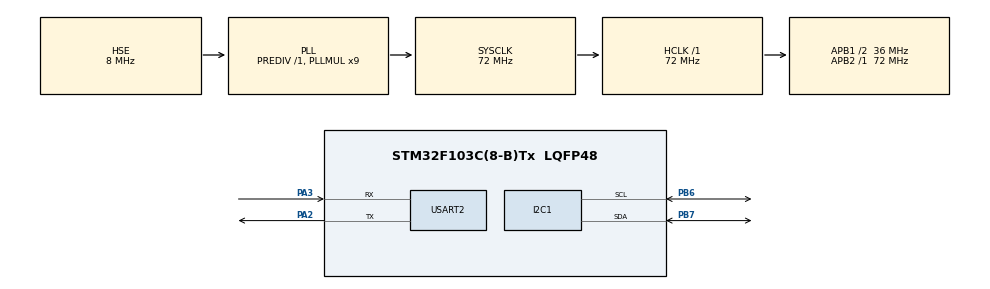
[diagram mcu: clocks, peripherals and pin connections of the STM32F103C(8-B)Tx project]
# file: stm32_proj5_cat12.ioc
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Mcu.Family=STM32F1
Mcu.Name=STM32F103C(8-B)Tx
Mcu.Package=LQFP48
NVIC.PriorityGroup=NVIC_PRIORITYGROUP_4
PA13.Mode=Serial_Wire
PA13.Signal=SYS_JTMS-SWDIO
PA14.Mode=Serial_Wire
PA14.Signal=SYS_JTCK-SWCLK
PA2.Mode=Asynchronous
PA2.Signal=USART2_TX
PA3.Mode=Asynchronous
PA3.Signal=USART2_RX
PB6.Mode=I2C
PB6.Signal=I2C1_SCL
PB7.Mode=I2C
PB7.Signal=I2C1_SDA
PD0-OSC_IN.Mode=HSE-External-Oscillator
PD0-OSC_IN.Signal=RCC_OSC_IN
PD1-OSC_OUT.Mode=HSE-External-Oscillator
PD1-OSC_OUT.Signal=RCC_OSC_OUT
ProjectManager.HeapSize=0x200
ProjectManager.StackSize=0x400
ProjectManager.TargetToolchain=MDK-ARM V5.32
RCC.AHBFreq_Value=72000000
RCC.APB1CLKDivider=RCC_HCLK_DIV2
RCC.APB1Freq_Value=36000000
RCC.APB1TimFreq_Value=72000000
RCC.APB2Freq_Value=72000000
RCC.APB2TimFreq_Value=72000000
RCC.HCLKFreq_Value=72000000
RCC.PLLMUL=RCC_PLL_MUL9
RCC.PLLSourceVirtual=RCC_PLLSOURCE_HSE
RCC.SYSCLKFreq_VALUE=72000000
RCC.SYSCLKSource=RCC_SYSCLKSOURCE_PLLCLK
RCC.USBFreq_Value=72000000
USART2.VirtualMode=VM_ASYNC
board=custom

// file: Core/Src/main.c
/* USER CODE BEGIN Header */
/**
  ******************************************************************************
  * @file           : main.c
  * @brief          : Main program body
  ******************************************************************************
  * @attention
  *
  * Copyright (c) 2026 STMicroelectronics.
  * All rights reserved.
  *
  * This software is licensed under terms that can be found in the LICENSE file
  * in the root directory of this software component.
  * If no LICENSE file comes with this software, it is provided AS-IS.
  *
  ******************************************************************************
  */
/* USER CODE END Header */

#include "main.h"

/* USER CODE BEGIN Includes */
#include "bme280.h"
#include <stdio.h>
#include <string.h>
#include <stdlib.h>
/* USER CODE END Includes */

/* USER CODE BEGIN PD */

#define ESP_RX_BUFFER_SIZE 1200
#define ESP_REQUEST_BUFFER_SIZE 1024
#define ESP_RESPONSE_BUFFER_SIZE 512

#define WIFI_SSID "SNUC"
#define WIFI_PASSWORD "YOUR_WIFI_PASSWORD"

/* USER CODE END PD */

I2C_HandleTypeDef hi2c1;

UART_HandleTypeDef huart2;

/* USER CODE BEGIN PV */

extern I2C_HandleTypeDef hi2c1;

struct bme280_dev dev;
struct bme280_data comp_data;
struct bme280_settings settings;

int8_t rslt = BME280_OK;

float temperature, pressure, humidity;

uint8_t sensor_data_valid = 0;
uint8_t esp_ready = 0;

char esp_ip[16] = "0.0.0.0";

char esp_response[ESP_RESPONSE_BUFFER_SIZE];

char esp_rx_buffer[ESP_RX_BUFFER_SIZE];
uint16_t esp_rx_length = 0;

/* USER CODE END PV */

void SystemClock_Config(void);
static void MX_GPIO_Init(void);
static void MX_I2C1_Init(void);
static void MX_USART2_UART_Init(void);

/* USER CODE BEGIN PFP */

int8_t user_i2c_read(uint8_t reg_addr, uint8_t *reg_data,
                     uint32_t len, void *intf_ptr);

int8_t user_i2c_write(uint8_t reg_addr, const uint8_t *reg_data,
                      uint32_t len, void *intf_ptr);

void user_delay_us(uint32_t period, void *intf_ptr);

static uint8_t ESP_WaitForResponse(const char *expected,
                                   uint32_t timeout);

static uint8_t ESP_SendCommand(const char *command,
                               const char *expected,
                               uint32_t timeout);

static uint8_t ESP_Init(void);

static void ESP_ProcessIncoming(void);

static void ESP_HandleHttpRequest(int link_id,
                                  const char *request);

static void ESP_SendHTTPResponse(int link_id,
                                 const char *json,
                                 int status_code,
                                 const char *status_text);

static void BME280_ReadSensor(void);

/* USER CODE END PFP */

/* USER CODE BEGIN 0 */

/* BME280 I2C Read Function */

int8_t user_i2c_read(uint8_t reg_addr, uint8_t *reg_data,
                     uint32_t len, void *intf_ptr)
{
    uint8_t dev_addr = *(uint8_t*)intf_ptr;

    if (HAL_I2C_Mem_Read(&hi2c1, (dev_addr << 1),
                         reg_addr, I2C_MEMADD_SIZE_8BIT,
                         reg_data, len, HAL_MAX_DELAY) == HAL_OK)
    {
        return BME280_OK;
    }

    return BME280_E_COMM_FAIL;
}

/* BME280 I2C Write Function */

int8_t user_i2c_write(uint8_t reg_addr, const uint8_t *reg_data,
                      uint32_t len, void *intf_ptr)
{
    uint8_t dev_addr = *(uint8_t*)intf_ptr;

    if (HAL_I2C_Mem_Write(&hi2c1, (dev_addr << 1),
                          reg_addr, I2C_MEMADD_SIZE_8BIT,
                          (uint8_t*)reg_data, len,
                          HAL_MAX_DELAY) == HAL_OK)
    {
        return BME280_OK;
    }

    return BME280_E_COMM_FAIL;
}

/* BME280 Delay Function */

void user_delay_us(uint32_t period, void *intf_ptr)
{
    HAL_Delay((period / 1000) + 1);
}

/* ESP8266 UART Response Handler */

static uint8_t ESP_WaitForResponse(const char *expected,
                                   uint32_t timeout)
{
    uint8_t ch;
    uint16_t i = 0;

    memset(esp_response, 0, sizeof(esp_response));

    uint32_t start = HAL_GetTick();

    while ((HAL_GetTick() - start) < timeout)
    {
        if (HAL_UART_Receive(&huart2, &ch, 1, 10) == HAL_OK)
        {
            if (i < sizeof(esp_response) - 1)
            {
                esp_response[i++] = ch;
                esp_response[i] = '\0';
            }

            if (strstr(esp_response, "ERROR") != NULL ||
                strstr(esp_response, "FAIL") != NULL)
            {
                return 0;
            }

            if (strstr(esp_response, expected) != NULL)
            {
                return 1;
            }
        }
    }

    return 0;
}

/* ESP8266 AT Command Handler */

static uint8_t ESP_SendCommand(const char *command,
                               const char *expected,
                               uint32_t timeout)
{
    HAL_UART_Transmit(&huart2,
                      (uint8_t *)command,
                      strlen(command),
                      HAL_MAX_DELAY);

    return ESP_WaitForResponse(expected, timeout);
}

/* ESP8266 Wi-Fi and HTTP Server Initialization */

static uint8_t ESP_Init(void)
{
    char command[150];

    if (!ESP_SendCommand("AT\r\n", "OK", 3000))
    {
        return 0;
    }

    if (!ESP_SendCommand("ATE0\r\n", "OK", 3000))
    {
        return 0;
    }

    if (!ESP_SendCommand("AT+CWMODE=1\r\n", "OK", 3000))
    {
        return 0;
    }

    snprintf(command, sizeof(command),
             "AT+CWJAP=\"%s\",\"%s\"\r\n",
             WIFI_SSID, WIFI_PASSWORD);

    if (!ESP_SendCommand(command, "OK", 30000))
    {
        return 0;
    }

    if (!ESP_SendCommand("AT+CIFSR\r\n", "OK", 5000))
    {
        return 0;
    }

    char *ip_start = strstr(esp_response, "+CIFSR:STAIP,\"");

    if (ip_start != NULL)
    {
        ip_start += strlen("+CIFSR:STAIP,\"");

        char *ip_end = strchr(ip_start, '"');

        if (ip_end != NULL)
        {
            size_t ip_length = ip_end - ip_start;

            if (ip_length < sizeof(esp_ip))
            {
                memcpy(esp_ip, ip_start, ip_length);
                esp_ip[ip_length] = '\0';
            }
        }
    }

    if (!ESP_SendCommand("AT+CIPMUX=1\r\n", "OK", 3000))
    {
        return 0;
    }

    if (!ESP_SendCommand("AT+CIPSERVER=1,80\r\n", "OK", 3000))
    {
        return 0;
    }

    return 1;
}

/* BME280 Sensor Reading Function */

static void BME280_ReadSensor(void)
{
    rslt = bme280_get_sensor_data(BME280_ALL,
                                  &comp_data,
                                  &dev);

    if (rslt == BME280_OK)
    {
        temperature = comp_data.temperature;

        pressure = comp_data.pressure / 100.0f;

        humidity = comp_data.humidity;

        sensor_data_valid = 1;
    }
    else
    {
        sensor_data_valid = 0;
    }
}

/* HTTP Response Transmission */

static void ESP_SendHTTPResponse(int link_id,
                                 const char *json,
                                 int status_code,
                                 const char *status_text)
{
    char http_response[512];
    char command[50];

    int content_length = strlen(json);

    int response_length = snprintf(
        http_response,
        sizeof(http_response),

        "HTTP/1.1 %d %s\r\n"
        "Content-Type: application/json\r\n"
        "Content-Length: %d\r\n"
        "Connection: close\r\n"
        "\r\n"
        "%s",

        status_code,
        status_text,
        content_length,
        json
    );

    if (response_length <= 0 ||
        response_length >= sizeof(http_response))
    {
        return;
    }

    snprintf(command, sizeof(command),
             "AT+CIPSEND=%d,%d\r\n",
             link_id,
             response_length);

    if (!ESP_SendCommand(command, ">", 5000))
    {
        return;
    }

    HAL_UART_Transmit(&huart2,
                      (uint8_t *)http_response,
                      response_length,
                      5000);

    if (ESP_WaitForResponse("SEND OK", 5000))
    {
        snprintf(command, sizeof(command),
                 "AT+CIPCLOSE=%d\r\n",
                 link_id);

        ESP_SendCommand(command, "OK", 2000);
    }
}

/* HTTP Request Processing */

static void ESP_HandleHttpRequest(int link_id,
                                  const char *request)
{
    char json[200];

    int status_code = 200;
    const char *status_text = "OK";

    if (strncmp(request, "GET ", 4) != 0)
    {
        snprintf(json, sizeof(json),
                 "{\"status\":\"error\",\"message\":\"Method not supported\"}");

        status_code = 405;
        status_text = "Method Not Allowed";
    }
    else if (!sensor_data_valid)
    {
        snprintf(json, sizeof(json),
                 "{\"status\":\"error\",\"message\":\"Sensor data unavailable\"}");

        status_code = 503;
        status_text = "Service Unavailable";
    }
    else
    {
        snprintf(json, sizeof(json),
                 "{\"status\":\"success\","
                 "\"temperature\":%.2f,"
                 "\"humidity\":%.2f,"
                 "\"pressure\":%.2f}",

                 temperature,
                 humidity,
                 pressure);
    }

    ESP_SendHTTPResponse(link_id,
                         json,
                         status_code,
                         status_text);
}

/* ESP8266 Incoming HTTP Request Processing */

static void ESP_ProcessIncoming(void)
{
    uint8_t ch;

    if (HAL_UART_Receive(&huart2, &ch, 1, 2) == HAL_OK)
    {
        if (esp_rx_length < ESP_RX_BUFFER_SIZE - 1)
        {
            esp_rx_buffer[esp_rx_length++] = ch;

            esp_rx_buffer[esp_rx_length] = '\0';
        }
        else
        {
            esp_rx_length = 0;

            memset(esp_rx_buffer, 0,
                   sizeof(esp_rx_buffer));
        }
    }

    char *ipd = strstr(esp_rx_buffer, "+IPD,");

    if (ipd == NULL)
    {
        if (esp_rx_length > 5)
        {
            memmove(esp_rx_buffer,
                    esp_rx_buffer + esp_rx_length - 5,
                    5);

            esp_rx_length = 5;

            esp_rx_buffer[5] = '\0';
        }

        return;
    }

    char *comma = strchr(ipd + 5, ',');

    if (comma == NULL)
    {
        return;
    }

    char *colon = strchr(comma + 1, ':');

    if (colon == NULL)
    {
        return;
    }

    int link_id = atoi(ipd + 5);

    int payload_length = atoi(comma + 1);

    if (payload_length <= 0 ||
        payload_length >= ESP_REQUEST_BUFFER_SIZE)
    {
        esp_rx_length = 0;

        memset(esp_rx_buffer, 0,
               sizeof(esp_rx_buffer));

        return;
    }

    uint16_t header_length =
        (uint16_t)(colon - esp_rx_buffer + 1);

    uint16_t total_length =
        header_length + payload_length;

    if (esp_rx_length < total_length)
    {
        return;
    }

    char request[ESP_REQUEST_BUFFER_SIZE];

    memcpy(request,
           colon + 1,
           payload_length);

    request[payload_length] = '\0';

    uint16_t remaining =
        esp_rx_length - total_length;

    memmove(esp_rx_buffer,
            esp_rx_buffer + total_length,
            remaining);

    esp_rx_length = remaining;

    esp_rx_buffer[esp_rx_length] = '\0';

    ESP_HandleHttpRequest(link_id, request);
}

/* USER CODE END 0 */

int main(void)
{

  /* MCU Configuration--------------------------------------------------------*/

  HAL_Init();

  /* Configure the system clock */

  SystemClock_Config();

  /* Initialize all configured peripherals */

  MX_GPIO_Init();
  MX_I2C1_Init();
  MX_USART2_UART_Init();

  /* USER CODE BEGIN 2 */

  static uint8_t dev_addr = BME280_I2C_ADDR_PRIM;

  /* Set up the API configuration function pointers */

  dev.intf_ptr = &dev_addr;

  dev.intf = BME280_I2C_INTF;

  dev.read = user_i2c_read;

  dev.write = user_i2c_write;

  dev.delay_us = user_delay_us;

  /* Initialize the BME280 sensor */

  rslt = bme280_init(&dev);

  /* Configure sensor settings */

  settings.osr_h = BME280_OVERSAMPLING_1X;

  settings.osr_p = BME280_OVERSAMPLING_1X;

  settings.osr_t = BME280_OVERSAMPLING_1X;

  settings.filter = BME280_FILTER_COEFF_OFF;

  rslt = bme280_set_sensor_settings(
      BME280_SEL_OSR_PRESS |
      BME280_SEL_OSR_TEMP |
      BME280_SEL_OSR_HUM |
      BME280_SEL_FILTER,
      &settings,
      &dev
  );

  /* Set power mode to normal */

  rslt = bme280_set_sensor_mode(
      BME280_POWERMODE_NORMAL,
      &dev
  );

  /* Take the first sensor reading */

  BME280_ReadSensor();

  /* Initialize ESP8266 Wi-Fi and HTTP server */

  esp_ready = ESP_Init();

  uint32_t last_sensor_read = HAL_GetTick();

  uint32_t last_esp_retry = HAL_GetTick();

  /* USER CODE END 2 */

  /* Infinite loop */

  /* USER CODE BEGIN WHILE */

  while (1)
  {

    /* Read BME280 every one second */

    if (HAL_GetTick() - last_sensor_read >= 1000)
    {
        last_sensor_read = HAL_GetTick();

        BME280_ReadSensor();
    }

    /* Retry ESP8266 initialization if connection fails */

    if (!esp_ready &&
        HAL_GetTick() - last_esp_retry >= 10000)
    {
        last_esp_retry = HAL_GetTick();

        esp_ready = ESP_Init();
    }

    /* Process incoming HTTP requests */

    if (esp_ready)
    {
        ESP_ProcessIncoming();
    }

  }

}

void SystemClock_Config(void)
{
  RCC_OscInitTypeDef RCC_OscInitStruct = {0};
  RCC_ClkInitTypeDef RCC_ClkInitStruct = {0};

  RCC_OscInitStruct.OscillatorType = RCC_OSCILLATORTYPE_HSE;
  RCC_OscInitStruct.HSEState = RCC_HSE_ON;
  RCC_OscInitStruct.HSEPredivValue = RCC_HSE_PREDIV_DIV1;
  RCC_OscInitStruct.HSIState = RCC_HSI_ON;
  RCC_OscInitStruct.PLL.PLLState = RCC_PLL_ON;
  RCC_OscInitStruct.PLL.PLLSource = RCC_PLLSOURCE_HSE;
  RCC_OscInitStruct.PLL.PLLMUL = RCC_PLL_MUL9;

  if (HAL_RCC_OscConfig(&RCC_OscInitStruct) != HAL_OK)
  {
    Error_Handler();
  }

  RCC_ClkInitTypeDef RCC_ClkInitStruct2 = {0};

  RCC_ClkInitStruct2.ClockType =
      RCC_CLOCKTYPE_HCLK |
      RCC_CLOCKTYPE_SYSCLK |
      RCC_CLOCKTYPE_PCLK1 |
      RCC_CLOCKTYPE_PCLK2;

  RCC_ClkInitStruct2.SYSCLKSource = RCC_SYSCLKSOURCE_PLLCLK;
  RCC_ClkInitStruct2.AHBCLKDivider = RCC_SYSCLK_DIV1;
  RCC_ClkInitStruct2.APB1CLKDivider = RCC_HCLK_DIV2;
  RCC_ClkInitStruct2.APB2CLKDivider = RCC_HCLK_DIV1;

  if (HAL_RCC_ClockConfig(&RCC_ClkInitStruct2,
                          FLASH_LATENCY_2) != HAL_OK)
  {
    Error_Handler();
  }
}

static void MX_I2C1_Init(void)
{

  hi2c1.Instance = I2C1;

  hi2c1.Init.ClockSpeed = 100000;
  hi2c1.Init.DutyCycle = I2C_DUTYCYCLE_2;
  hi2c1.Init.OwnAddress1 = 0;
  hi2c1.Init.AddressingMode = I2C_ADDRESSINGMODE_7BIT;
  hi2c1.Init.DualAddressMode = I2C_DUALADDRESS_DISABLE;
  hi2c1.Init.OwnAddress2 = 0;
  hi2c1.Init.GeneralCallMode = I2C_GENERALCALL_DISABLE;
  hi2c1.Init.NoStretchMode = I2C_NOSTRETCH_DISABLE;

  if (HAL_I2C_Init(&hi2c1) != HAL_OK)
  {
    Error_Handler();
  }

}

static void MX_USART2_UART_Init(void)
{

  huart2.Instance = USART2;

  huart2.Init.BaudRate = 115200;
  huart2.Init.WordLength = UART_WORDLENGTH_8B;
  huart2.Init.StopBits = UART_STOPBITS_1;
  huart2.Init.Parity = UART_PARITY_NONE;
  huart2.Init.Mode = UART_MODE_TX_RX;
  huart2.Init.HwFlowCtl = UART_HWCONTROL_NONE;
  huart2.Init.OverSampling = UART_OVERSAMPLING_16;

  if (HAL_UART_Init(&huart2) != HAL_OK)
  {
    Error_Handler();
  }

}

static void MX_GPIO_Init(void)
{

  /* GPIO Ports Clock Enable */

  __HAL_RCC_GPIOD_CLK_ENABLE();
  __HAL_RCC_GPIOA_CLK_ENABLE();
  __HAL_RCC_GPIOB_CLK_ENABLE();

}

void Error_Handler(void)
{

  __disable_irq();

  while (1)
  {
  }

}
